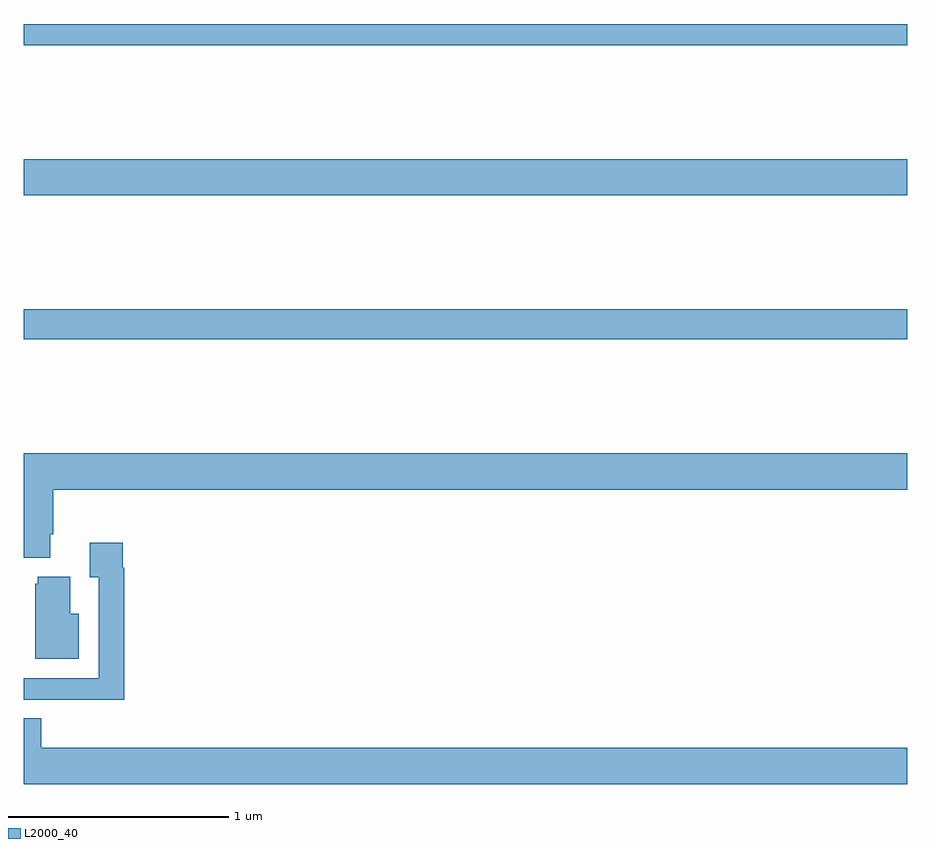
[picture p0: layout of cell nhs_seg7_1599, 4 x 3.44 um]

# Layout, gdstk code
import gdstk
lib = gdstk.Library(unit=1e-6, precision=1e-09)
def R(c, l, rs):  # rectangles x0, y0, x1, y1
    for r in rs: c.add(gdstk.rectangle(r[:2], r[2:], *l))
def P(c, l, *ps):  # polygons
    for p in ps: c.add(gdstk.Polygon(p, *l))
L2000_40 = (2000, 40)

nhs_seg7_1599 = lib.new_cell('nhs_seg7_1599')
R(nhs_seg7_1599, L2000_40, [(219,1058.572,223,1058.708), (219,1059.224,223,1059.388), (219,1059.904,223,1060)])
P(nhs_seg7_1599, L2000_40, [(219.121,1057.69),(219.134,1057.69),(219.134,1057.892),(223,1057.892),(223,1058.056),(219,1058.056),(219,1057.583),(219.121,1057.583)],
  [(219.455,1057.538),(219.448,1057.538),(219.448,1057.651),(219.299,1057.651),(219.299,1057.495),(219.339,1057.495),(219.339,1057.038),(219,1057.038),(219,1056.942),(219.163,1056.942),(219.163,1056.941),(219.455,1056.941)],
  [(219.25,1057.33),(219.211,1057.33),(219.211,1057.498),(219.065,1057.498),(219.065,1057.467),(219.053,1057.467),(219.053,1057.127),(219.25,1057.127)],
  [(223,1056.724),(219.08,1056.724),(219.08,1056.857),(219,1056.857),(219,1056.56),(223,1056.56)])

lib.write_gds('nhs_seg7_1599.gds')
